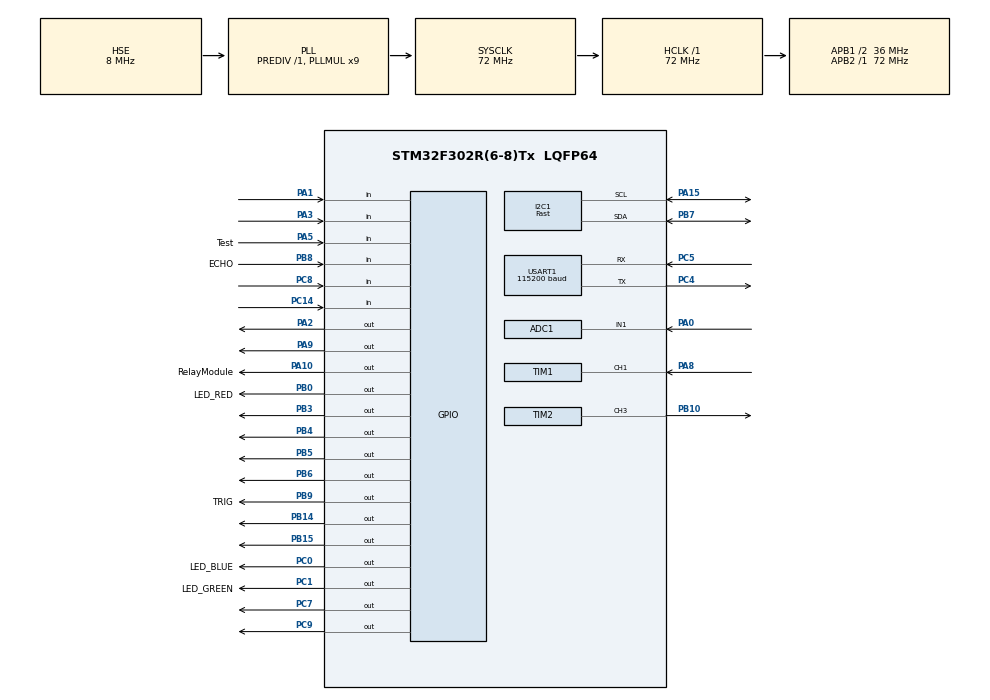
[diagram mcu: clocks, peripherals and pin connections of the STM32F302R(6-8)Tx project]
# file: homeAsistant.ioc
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ADC1.Channel-10\#ChannelRegularConversion=ADC_CHANNEL_1
ADC1.ContinuousConvMode=ENABLE
ADC1.DMAContinuousRequests=DISABLE
ADC1.EOCSelection=ADC_EOC_SEQ_CONV
ADC1.EnableRegularConversion=ENABLE
ADC1.NbrOfConversionFlag=1
ADC1.Offset-10\#ChannelRegularConversion=0
ADC1.OffsetNumber-10\#ChannelRegularConversion=ADC_OFFSET_NONE
ADC1.Rank-10\#ChannelRegularConversion=1
ADC1.Resolution=ADC_RESOLUTION_12B
ADC1.SamplingTime-10\#ChannelRegularConversion=ADC_SAMPLETIME_1CYCLE_5
ADC1.SamplingTimeOPAMP-10\#ChannelRegularConversion=ADC_SAMPLETIME_61CYCLES_5
ADC1.SequencerNbRanks=1
ADC1.SubFamily=STM32F302x8
ADC1.master=1
I2C1.I2C_Speed_Mode=I2C_Fast
I2C1.Timing=0x0000020B
Mcu.Family=STM32F3
Mcu.Name=STM32F302R(6-8)Tx
Mcu.Package=LQFP64
NVIC.PriorityGroup=NVIC_PRIORITYGROUP_4
NVIC.TIM1_CC_IRQn=true\:0\:0\:false\:false\:true\:true\:true\:true
PA0.Mode=IN1-Single-Ended
PA0.Signal=ADC1_IN1
PA1.Signal=GPIO_Input
PA10.GPIO_Label=RelayModule
PA10.Signal=GPIO_Output
PA13.Mode=Serial_Wire
PA13.Signal=SYS_JTMS-SWDIO
PA14.Mode=Serial_Wire
PA14.Signal=SYS_JTCK-SWCLK
PA15.Mode=I2C
PA15.Signal=I2C1_SCL
PA2.Signal=GPIO_Output
PA3.Signal=GPIO_Input
PA5.GPIO_Label=Test
PA5.Signal=GPIO_Input
PA8.Signal=S_TIM1_CH1
PA9.Signal=GPIO_Output
PB0.GPIO_Label=LED_RED
PB0.GPIO_PuPd=GPIO_PULLDOWN
PB0.Signal=GPIO_Output
PB10.Signal=S_TIM2_CH3
PB14.Signal=GPIO_Output
PB15.Signal=GPIO_Output
PB3.Signal=GPIO_Output
PB4.Signal=GPIO_Output
PB5.Signal=GPIO_Output
PB6.GPIO_FM6=__NULL
PB6.Signal=GPIO_Output
PB7.Mode=I2C
PB7.Signal=I2C1_SDA
PB8.GPIO_Label=ECHO
PB8.Signal=GPIO_Input
PB9.GPIO_Label=TRIG
PB9.Signal=GPIO_Output
PC0.GPIO_Label=LED_BLUE
PC0.GPIO_PuPd=GPIO_PULLDOWN
PC0.Signal=GPIO_Output
PC1.GPIO_Label=LED_GREEN
PC1.GPIO_PuPd=GPIO_PULLDOWN
PC1.Signal=GPIO_Output
PC14\ -\ OSC32_IN.Signal=GPIO_Input
PC4.Mode=Asynchronous
PC4.Signal=USART1_TX
PC5.Mode=Asynchronous
PC5.Signal=USART1_RX
PC7.Signal=GPIO_Output
PC8.Signal=GPIO_Input
PC9.Signal=GPIO_Output
PF0-OSC_IN.Mode=HSE-External-Oscillator
PF0-OSC_IN.Signal=RCC_OSC_IN
PF1-OSC_OUT.Mode=HSE-External-Oscillator
PF1-OSC_OUT.Signal=RCC_OSC_OUT
ProjectManager.HeapSize=0x200
ProjectManager.StackSize=0x400
ProjectManager.TargetToolchain=STM32CubeIDE
RCC.AHBFreq_Value=72000000
RCC.APB1CLKDivider=RCC_HCLK_DIV2
RCC.APB1Freq_Value=36000000
RCC.APB1TimFreq_Value=72000000
RCC.APB2Freq_Value=72000000
RCC.APB2TimFreq_Value=72000000
RCC.CortexFreq_Value=72000000
RCC.HCLKFreq_Value=72000000
RCC.HSE_VALUE=8000000
RCC.HSI_VALUE=8000000
RCC.LSE_VALUE=32768
RCC.PLLMUL=RCC_PLL_MUL9
RCC.PLLSourceVirtual=RCC_PLLSOURCE_HSE
RCC.SYSCLKFreq_VALUE=72000000
RCC.SYSCLKSourceVirtual=RCC_SYSCLKSOURCE_PLLCLK
RCC.USBFreq_Value=72000000
SH.S_TIM1_CH1.0=TIM1_CH1,Input_Capture1_from_TI1
SH.S_TIM1_CH1.1=TIM1_CH1,TriggerSource_TI1FP1
SH.S_TIM2_CH3.0=TIM2_CH3,PWM Generation3 CH3
TIM1.Channel-Input_Capture1_from_TI1=TIM_CHANNEL_1
TIM1.ICPolarity_CH1=TIM_INPUTCHANNELPOLARITY_BOTHEDGE
TIM1.Prescaler=79
TIM2.AutoReloadPreload=TIM_AUTORELOAD_PRELOAD_ENABLE
TIM2.Channel-PWM\ Generation3\ CH3=TIM_CHANNEL_3
TIM2.OCFastMode_PWM-PWM\ Generation3\ CH3=TIM_OCFAST_ENABLE
TIM2.Period=10
TIM2.Prescaler=300
TIM2.TIM_MasterSlaveMode=TIM_MASTERSLAVEMODE_DISABLE
USART1.BaudRate=115200
USART1.VirtualMode-Asynchronous=VM_ASYNC
VP_TIM1_VS_ClockSourceINT.Mode=Internal
VP_TIM1_VS_ControllerModeReset.Mode=Reset Mode
VP_TIM2_VS_ClockSourceINT.Mode=Internal
board=custom

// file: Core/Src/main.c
/* USER CODE BEGIN Header */
/**
  ******************************************************************************
  * @file           : main.c
  * @brief          : Main program body
  ******************************************************************************
  * @attention
  *
  * Copyright (c) 2023 STMicroelectronics.
  * All rights reserved.
  *
  * This software is licensed under terms that can be found in the LICENSE file
  * in the root directory of this software component.
  * If no LICENSE file comes with this software, it is provided AS-IS.
  *
  ******************************************************************************
  */
/* USER CODE END Header */
#include "main.h"

/* USER CODE BEGIN Includes */
#include "lcd.h"

/* USER CODE END Includes */

ADC_HandleTypeDef hadc1;

I2C_HandleTypeDef hi2c1;

TIM_HandleTypeDef htim1;
TIM_HandleTypeDef htim2;

UART_HandleTypeDef huart1;

/* USER CODE BEGIN PV */
uint32_t lightValue;
uint32_t pirValue;
#define TRIG_PIN GPIO_PIN_9
#define TRIG_PORT GPIOB
#define ECHO_PIN GPIO_PIN_8
#define ECHO_PORT GPIOB
uint32_t pMillis;
uint32_t val1 = 0;
uint32_t val2 = 0;
uint32_t distance  = 0;
uint32_t x = 0;
/* USER CODE END PV */

void SystemClock_Config(void);
static void MX_GPIO_Init(void);
static void MX_TIM1_Init(void);
static void MX_I2C1_Init(void);
static void MX_ADC1_Init(void);
static void MX_USART1_UART_Init(void);
static void MX_TIM2_Init(void);

int main(void)
{

  /* MCU Configuration--------------------------------------------------------*/

  /* Reset of all peripherals, Initializes the Flash interface and the Systick. */
  HAL_Init();

  /* Configure the system clock */
  SystemClock_Config();

  /* Initialize all configured peripherals */
  MX_GPIO_Init();
  MX_TIM1_Init();
  MX_I2C1_Init();
  MX_ADC1_Init();
  MX_USART1_UART_Init();
  MX_TIM2_Init();
  /* USER CODE BEGIN 2 */

  HAL_TIM_Base_Start(&htim1);
  HAL_GPIO_WritePin(TRIG_PORT, TRIG_PIN, GPIO_PIN_RESET);

  HAL_TIM_PWM_Start(&htim2, TIM_CHANNEL_3);

  //HAL_ADC_Start (&hadc1);

  // Lcd_PortType ports[] = { D4_GPIO_Port, D5_GPIO_Port, D6_GPIO_Port, D7_GPIO_Port };
  Lcd_PortType ports[] = { GPIOC, GPIOB, GPIOB, GPIOB };
  // Lcd_PinType pins[] = {D4_Pin, D5_Pin, D6_Pin, D7_Pin};
  Lcd_PinType pins[] = {GPIO_PIN_7, GPIO_PIN_6, GPIO_PIN_15, GPIO_PIN_14};
  Lcd_HandleTypeDef lcd;
  // Lcd_create(ports, pins, RS_GPIO_Port, RS_Pin, EN_GPIO_Port, EN_Pin, LCD_4_BIT_MODE);
  lcd = Lcd_create(ports, pins, GPIOB, GPIO_PIN_5, GPIOB, GPIO_PIN_4, LCD_4_BIT_MODE);
  Lcd_cursor(&lcd,0,4);
  Lcd_string(&lcd,"Ali ACAN");
  Lcd_cursor(&lcd,1,0);
  Lcd_string(&lcd," Mikro Islemci");
  HAL_Delay(2200);
  Lcd_clear(&lcd);
  Lcd_cursor(&lcd,0,9);
  Lcd_string(&lcd,"PIR :");
  Lcd_cursor(&lcd,1,0);
  Lcd_string(&lcd,"LIGHT:");
  Lcd_cursor(&lcd,0,0);
  Lcd_string(&lcd,"D:");
  Lcd_cursor(&lcd,0,5);
  Lcd_string(&lcd,"cm");

  HAL_ADC_Start(&hadc1);

  /* USER CODE END 2 */

  /* Infinite loop */
  /* USER CODE BEGIN WHILE */
  while (1)
  {
	    HAL_ADC_PollForConversion (&hadc1,1000);
	  	lightValue = HAL_ADC_GetValue (&hadc1);
	  	Lcd_cursor(&lcd,1,7);
	    Lcd_string(&lcd,"     lux");
	  	Lcd_cursor(&lcd,1,7);
	  	Lcd_int(&lcd,lightValue);

	  	if (lightValue>2900)
	  	{
	  		HAL_GPIO_WritePin(GPIOA,GPIO_PIN_10,GPIO_PIN_SET);
	  	}
	  	else
	  	{
	  		HAL_GPIO_WritePin(GPIOA,GPIO_PIN_10,GPIO_PIN_RESET);
	  	}

	  	Lcd_cursor(&lcd,0,13);
	  	Lcd_string(&lcd,"OFF");
	  	HAL_GPIO_WritePin(LED_RED_GPIO_Port,LED_RED_Pin,GPIO_PIN_SET);
	  	HAL_GPIO_WritePin(LED_GREEN_GPIO_Port,LED_GREEN_Pin,GPIO_PIN_RESET);
	  	if (HAL_GPIO_ReadPin(GPIOA, GPIO_PIN_1)) // if the pin is HIGH
	  	  {
	  		 Lcd_cursor(&lcd,0,13);
	  		 Lcd_string(&lcd," ON");
	  		 HAL_GPIO_WritePin(LED_GREEN_GPIO_Port,LED_GREEN_Pin,GPIO_PIN_SET);
	  		 HAL_GPIO_WritePin(LED_RED_GPIO_Port,LED_RED_Pin,GPIO_PIN_RESET);
	  		 HAL_Delay(500);
	  	  }

	  	HAL_GPIO_WritePin(TRIG_PORT, TRIG_PIN, GPIO_PIN_SET);
	    __HAL_TIM_SET_COUNTER(&htim1, 0);
	  	 while (__HAL_TIM_GET_COUNTER (&htim1) < 10);  // wait for 10 us
	     HAL_GPIO_WritePin(TRIG_PORT, TRIG_PIN, GPIO_PIN_RESET);

	     pMillis = HAL_GetTick();
	  	 while (!(HAL_GPIO_ReadPin (ECHO_PORT, ECHO_PIN)) && pMillis + 10 >  HAL_GetTick());
	     val1 = __HAL_TIM_GET_COUNTER (&htim1);

	     pMillis = HAL_GetTick();
	  	 while ((HAL_GPIO_ReadPin (ECHO_PORT, ECHO_PIN)) && pMillis + 50 > HAL_GetTick());
	     val2 = __HAL_TIM_GET_COUNTER (&htim1);

	    Lcd_cursor(&lcd,0,2);
	    Lcd_string(&lcd,"   ");
	  	distance = (val2-val1) * 0.034/2;
	   	Lcd_cursor(&lcd,0,2);
	   	Lcd_int(&lcd,distance);

	   	if (distance <= 5)
	   	    {
	   	        for (x = 50; x < 100; x += 5)
	   	        {
	   	            __HAL_TIM_SET_AUTORELOAD(&htim2, x * 3);
	   	            __HAL_TIM_SET_COMPARE(&htim2, TIM_CHANNEL_3, x);
	   	            HAL_Delay(50);
	   	        }
	   	    }
	   	    else
	   	    {
	   	        __HAL_TIM_SET_COMPARE(&htim2, TIM_CHANNEL_3, 0);
	   	    }

	   	HAL_Delay(150);

    /* USER CODE END WHILE */

  }
}

void SystemClock_Config(void)
{
  RCC_OscInitTypeDef RCC_OscInitStruct = {0};
  RCC_ClkInitTypeDef RCC_ClkInitStruct = {0};
  RCC_PeriphCLKInitTypeDef PeriphClkInit = {0};

  /** Initializes the RCC Oscillators according to the specified parameters
  * in the RCC_OscInitTypeDef structure.
  */
  RCC_OscInitStruct.OscillatorType = RCC_OSCILLATORTYPE_HSI|RCC_OSCILLATORTYPE_HSE;
  RCC_OscInitStruct.HSEState = RCC_HSE_ON;
  RCC_OscInitStruct.HSEPredivValue = RCC_HSE_PREDIV_DIV1;
  RCC_OscInitStruct.HSIState = RCC_HSI_ON;
  RCC_OscInitStruct.HSICalibrationValue = RCC_HSICALIBRATION_DEFAULT;
  RCC_OscInitStruct.PLL.PLLState = RCC_PLL_ON;
  RCC_OscInitStruct.PLL.PLLSource = RCC_PLLSOURCE_HSE;
  RCC_OscInitStruct.PLL.PLLMUL = RCC_PLL_MUL9;
  if (HAL_RCC_OscConfig(&RCC_OscInitStruct) != HAL_OK)
  {
    Error_Handler();
  }

  /** Initializes the CPU, AHB and APB buses clocks
  */
  RCC_ClkInitStruct.ClockType = RCC_CLOCKTYPE_HCLK|RCC_CLOCKTYPE_SYSCLK
                              |RCC_CLOCKTYPE_PCLK1|RCC_CLOCKTYPE_PCLK2;
  RCC_ClkInitStruct.SYSCLKSource = RCC_SYSCLKSOURCE_PLLCLK;
  RCC_ClkInitStruct.AHBCLKDivider = RCC_SYSCLK_DIV1;
  RCC_ClkInitStruct.APB1CLKDivider = RCC_HCLK_DIV2;
  RCC_ClkInitStruct.APB2CLKDivider = RCC_HCLK_DIV1;

  if (HAL_RCC_ClockConfig(&RCC_ClkInitStruct, FLASH_LATENCY_2) != HAL_OK)
  {
    Error_Handler();
  }
  PeriphClkInit.PeriphClockSelection = RCC_PERIPHCLK_USART1|RCC_PERIPHCLK_I2C1
                              |RCC_PERIPHCLK_TIM1|RCC_PERIPHCLK_ADC1;
  PeriphClkInit.Usart1ClockSelection = RCC_USART1CLKSOURCE_PCLK1;
  PeriphClkInit.I2c1ClockSelection = RCC_I2C1CLKSOURCE_HSI;
  PeriphClkInit.Tim1ClockSelection = RCC_TIM1CLK_HCLK;
  PeriphClkInit.Adc1ClockSelection = RCC_ADC1PLLCLK_DIV1;

  if (HAL_RCCEx_PeriphCLKConfig(&PeriphClkInit) != HAL_OK)
  {
    Error_Handler();
  }
}

static void MX_ADC1_Init(void)
{

  ADC_ChannelConfTypeDef sConfig = {0};

  /** Common config
  */
  hadc1.Instance = ADC1;
  hadc1.Init.ClockPrescaler = ADC_CLOCK_ASYNC_DIV1;
  hadc1.Init.Resolution = ADC_RESOLUTION_12B;
  hadc1.Init.ScanConvMode = ADC_SCAN_DISABLE;
  hadc1.Init.ContinuousConvMode = ENABLE;
  hadc1.Init.DiscontinuousConvMode = DISABLE;
  hadc1.Init.ExternalTrigConvEdge = ADC_EXTERNALTRIGCONVEDGE_NONE;
  hadc1.Init.ExternalTrigConv = ADC_SOFTWARE_START;
  hadc1.Init.DataAlign = ADC_DATAALIGN_RIGHT;
  hadc1.Init.NbrOfConversion = 1;
  hadc1.Init.DMAContinuousRequests = DISABLE;
  hadc1.Init.EOCSelection = ADC_EOC_SEQ_CONV;
  hadc1.Init.LowPowerAutoWait = DISABLE;
  hadc1.Init.Overrun = ADC_OVR_DATA_OVERWRITTEN;
  if (HAL_ADC_Init(&hadc1) != HAL_OK)
  {
    Error_Handler();
  }

  /** Configure Regular Channel
  */
  sConfig.Channel = ADC_CHANNEL_1;
  sConfig.Rank = ADC_REGULAR_RANK_1;
  sConfig.SingleDiff = ADC_SINGLE_ENDED;
  sConfig.SamplingTime = ADC_SAMPLETIME_1CYCLE_5;
  sConfig.OffsetNumber = ADC_OFFSET_NONE;
  sConfig.Offset = 0;
  if (HAL_ADC_ConfigChannel(&hadc1, &sConfig) != HAL_OK)
  {
    Error_Handler();
  }

}

static void MX_I2C1_Init(void)
{

  hi2c1.Instance = I2C1;
  hi2c1.Init.Timing = 0x0000020B;
  hi2c1.Init.OwnAddress1 = 0;
  hi2c1.Init.AddressingMode = I2C_ADDRESSINGMODE_7BIT;
  hi2c1.Init.DualAddressMode = I2C_DUALADDRESS_DISABLE;
  hi2c1.Init.OwnAddress2 = 0;
  hi2c1.Init.OwnAddress2Masks = I2C_OA2_NOMASK;
  hi2c1.Init.GeneralCallMode = I2C_GENERALCALL_DISABLE;
  hi2c1.Init.NoStretchMode = I2C_NOSTRETCH_DISABLE;
  if (HAL_I2C_Init(&hi2c1) != HAL_OK)
  {
    Error_Handler();
  }

  /** Configure Analogue filter
  */
  if (HAL_I2CEx_ConfigAnalogFilter(&hi2c1, I2C_ANALOGFILTER_ENABLE) != HAL_OK)
  {
    Error_Handler();
  }

  /** Configure Digital filter
  */
  if (HAL_I2CEx_ConfigDigitalFilter(&hi2c1, 0) != HAL_OK)
  {
    Error_Handler();
  }

}

static void MX_TIM1_Init(void)
{

  TIM_ClockConfigTypeDef sClockSourceConfig = {0};
  TIM_SlaveConfigTypeDef sSlaveConfig = {0};
  TIM_MasterConfigTypeDef sMasterConfig = {0};
  TIM_IC_InitTypeDef sConfigIC = {0};

  htim1.Instance = TIM1;
  htim1.Init.Prescaler = 79;
  htim1.Init.CounterMode = TIM_COUNTERMODE_UP;
  htim1.Init.Period = 65535;
  htim1.Init.ClockDivision = TIM_CLOCKDIVISION_DIV1;
  htim1.Init.RepetitionCounter = 0;
  htim1.Init.AutoReloadPreload = TIM_AUTORELOAD_PRELOAD_DISABLE;
  if (HAL_TIM_Base_Init(&htim1) != HAL_OK)
  {
    Error_Handler();
  }
  sClockSourceConfig.ClockSource = TIM_CLOCKSOURCE_INTERNAL;
  if (HAL_TIM_ConfigClockSource(&htim1, &sClockSourceConfig) != HAL_OK)
  {
    Error_Handler();
  }
  if (HAL_TIM_IC_Init(&htim1) != HAL_OK)
  {
    Error_Handler();
  }
  sSlaveConfig.SlaveMode = TIM_SLAVEMODE_RESET;
  sSlaveConfig.InputTrigger = TIM_TS_TI1FP1;
  sSlaveConfig.TriggerPolarity = TIM_INPUTCHANNELPOLARITY_BOTHEDGE;
  sSlaveConfig.TriggerFilter = 0;
  if (HAL_TIM_SlaveConfigSynchro(&htim1, &sSlaveConfig) != HAL_OK)
  {
    Error_Handler();
  }
  sMasterConfig.MasterOutputTrigger = TIM_TRGO_RESET;
  sMasterConfig.MasterOutputTrigger2 = TIM_TRGO2_RESET;
  sMasterConfig.MasterSlaveMode = TIM_MASTERSLAVEMODE_DISABLE;
  if (HAL_TIMEx_MasterConfigSynchronization(&htim1, &sMasterConfig) != HAL_OK)
  {
    Error_Handler();
  }
  sConfigIC.ICPolarity = TIM_INPUTCHANNELPOLARITY_BOTHEDGE;
  sConfigIC.ICSelection = TIM_ICSELECTION_DIRECTTI;
  sConfigIC.ICPrescaler = TIM_ICPSC_DIV1;
  sConfigIC.ICFilter = 0;
  if (HAL_TIM_IC_ConfigChannel(&htim1, &sConfigIC, TIM_CHANNEL_1) != HAL_OK)
  {
    Error_Handler();
  }

}

static void MX_TIM2_Init(void)
{

  TIM_ClockConfigTypeDef sClockSourceConfig = {0};
  TIM_MasterConfigTypeDef sMasterConfig = {0};
  TIM_OC_InitTypeDef sConfigOC = {0};

  htim2.Instance = TIM2;
  htim2.Init.Prescaler = 300;
  htim2.Init.CounterMode = TIM_COUNTERMODE_UP;
  htim2.Init.Period = 10;
  htim2.Init.ClockDivision = TIM_CLOCKDIVISION_DIV1;
  htim2.Init.AutoReloadPreload = TIM_AUTORELOAD_PRELOAD_ENABLE;
  if (HAL_TIM_Base_Init(&htim2) != HAL_OK)
  {
    Error_Handler();
  }
  sClockSourceConfig.ClockSource = TIM_CLOCKSOURCE_INTERNAL;
  if (HAL_TIM_ConfigClockSource(&htim2, &sClockSourceConfig) != HAL_OK)
  {
    Error_Handler();
  }
  if (HAL_TIM_PWM_Init(&htim2) != HAL_OK)
  {
    Error_Handler();
  }
  sMasterConfig.MasterOutputTrigger = TIM_TRGO_RESET;
  sMasterConfig.MasterSlaveMode = TIM_MASTERSLAVEMODE_DISABLE;
  if (HAL_TIMEx_MasterConfigSynchronization(&htim2, &sMasterConfig) != HAL_OK)
  {
    Error_Handler();
  }
  sConfigOC.OCMode = TIM_OCMODE_PWM1;
  sConfigOC.Pulse = 0;
  sConfigOC.OCPolarity = TIM_OCPOLARITY_HIGH;
  sConfigOC.OCFastMode = TIM_OCFAST_ENABLE;
  if (HAL_TIM_PWM_ConfigChannel(&htim2, &sConfigOC, TIM_CHANNEL_3) != HAL_OK)
  {
    Error_Handler();
  }
  HAL_TIM_MspPostInit(&htim2);

}

static void MX_USART1_UART_Init(void)
{

  huart1.Instance = USART1;
  huart1.Init.BaudRate = 115200;
  huart1.Init.WordLength = UART_WORDLENGTH_8B;
  huart1.Init.StopBits = UART_STOPBITS_1;
  huart1.Init.Parity = UART_PARITY_NONE;
  huart1.Init.Mode = UART_MODE_TX_RX;
  huart1.Init.HwFlowCtl = UART_HWCONTROL_NONE;
  huart1.Init.OverSampling = UART_OVERSAMPLING_16;
  huart1.Init.OneBitSampling = UART_ONE_BIT_SAMPLE_DISABLE;
  huart1.AdvancedInit.AdvFeatureInit = UART_ADVFEATURE_NO_INIT;
  if (HAL_UART_Init(&huart1) != HAL_OK)
  {
    Error_Handler();
  }

}

static void MX_GPIO_Init(void)
{
  GPIO_InitTypeDef GPIO_InitStruct = {0};

  /* GPIO Ports Clock Enable */
  __HAL_RCC_GPIOC_CLK_ENABLE();
  __HAL_RCC_GPIOF_CLK_ENABLE();
  __HAL_RCC_GPIOA_CLK_ENABLE();
  __HAL_RCC_GPIOB_CLK_ENABLE();

  /*Configure GPIO pin Output Level */
  HAL_GPIO_WritePin(GPIOC, LED_BLUE_Pin|LED_GREEN_Pin|GPIO_PIN_7|GPIO_PIN_9, GPIO_PIN_RESET);

  /*Configure GPIO pin Output Level */
  HAL_GPIO_WritePin(GPIOA, GPIO_PIN_2|GPIO_PIN_9|RelayModule_Pin, GPIO_PIN_RESET);

  /*Configure GPIO pin Output Level */
  HAL_GPIO_WritePin(GPIOB, LED_RED_Pin|GPIO_PIN_14|GPIO_PIN_15|GPIO_PIN_3
                          |GPIO_PIN_4|GPIO_PIN_5|GPIO_PIN_6|TRIG_Pin, GPIO_PIN_RESET);

  /*Configure GPIO pins : PC14 PC8 */
  GPIO_InitStruct.Pin = GPIO_PIN_14|GPIO_PIN_8;
  GPIO_InitStruct.Mode = GPIO_MODE_INPUT;
  GPIO_InitStruct.Pull = GPIO_NOPULL;
  HAL_GPIO_Init(GPIOC, &GPIO_InitStruct);

  /*Configure GPIO pins : LED_BLUE_Pin LED_GREEN_Pin */
  GPIO_InitStruct.Pin = LED_BLUE_Pin|LED_GREEN_Pin;
  GPIO_InitStruct.Mode = GPIO_MODE_OUTPUT_PP;
  GPIO_InitStruct.Pull = GPIO_PULLDOWN;
  GPIO_InitStruct.Speed = GPIO_SPEED_FREQ_LOW;
  HAL_GPIO_Init(GPIOC, &GPIO_InitStruct);

  /*Configure GPIO pins : PA1 PA3 Test_Pin */
  GPIO_InitStruct.Pin = GPIO_PIN_1|GPIO_PIN_3|Test_Pin;
  GPIO_InitStruct.Mode = GPIO_MODE_INPUT;
  GPIO_InitStruct.Pull = GPIO_NOPULL;
  HAL_GPIO_Init(GPIOA, &GPIO_InitStruct);

  /*Configure GPIO pins : PA2 PA9 RelayModule_Pin */
  GPIO_InitStruct.Pin = GPIO_PIN_2|GPIO_PIN_9|RelayModule_Pin;
  GPIO_InitStruct.Mode = GPIO_MODE_OUTPUT_PP;
  GPIO_InitStruct.Pull = GPIO_NOPULL;
  GPIO_InitStruct.Speed = GPIO_SPEED_FREQ_LOW;
  HAL_GPIO_Init(GPIOA, &GPIO_InitStruct);

  /*Configure GPIO pin : LED_RED_Pin */
  GPIO_InitStruct.Pin = LED_RED_Pin;
  GPIO_InitStruct.Mode = GPIO_MODE_OUTPUT_PP;
  GPIO_InitStruct.Pull = GPIO_PULLDOWN;
  GPIO_InitStruct.Speed = GPIO_SPEED_FREQ_LOW;
  HAL_GPIO_Init(LED_RED_GPIO_Port, &GPIO_InitStruct);

  /*Configure GPIO pins : PB14 PB15 PB3 PB4
                           PB5 PB6 TRIG_Pin */
  GPIO_InitStruct.Pin = GPIO_PIN_14|GPIO_PIN_15|GPIO_PIN_3|GPIO_PIN_4
                          |GPIO_PIN_5|GPIO_PIN_6|TRIG_Pin;
  GPIO_InitStruct.Mode = GPIO_MODE_OUTPUT_PP;
  GPIO_InitStruct.Pull = GPIO_NOPULL;
  GPIO_InitStruct.Speed = GPIO_SPEED_FREQ_LOW;
  HAL_GPIO_Init(GPIOB, &GPIO_InitStruct);

  /*Configure GPIO pins : PC7 PC9 */
  GPIO_InitStruct.Pin = GPIO_PIN_7|GPIO_PIN_9;
  GPIO_InitStruct.Mode = GPIO_MODE_OUTPUT_PP;
  GPIO_InitStruct.Pull = GPIO_NOPULL;
  GPIO_InitStruct.Speed = GPIO_SPEED_FREQ_LOW;
  HAL_GPIO_Init(GPIOC, &GPIO_InitStruct);

  /*Configure GPIO pin : ECHO_Pin */
  GPIO_InitStruct.Pin = ECHO_Pin;
  GPIO_InitStruct.Mode = GPIO_MODE_INPUT;
  GPIO_InitStruct.Pull = GPIO_NOPULL;
  HAL_GPIO_Init(ECHO_GPIO_Port, &GPIO_InitStruct);

}

void Error_Handler(void)
{
  __disable_irq();
  while (1)
  {
  }
}
